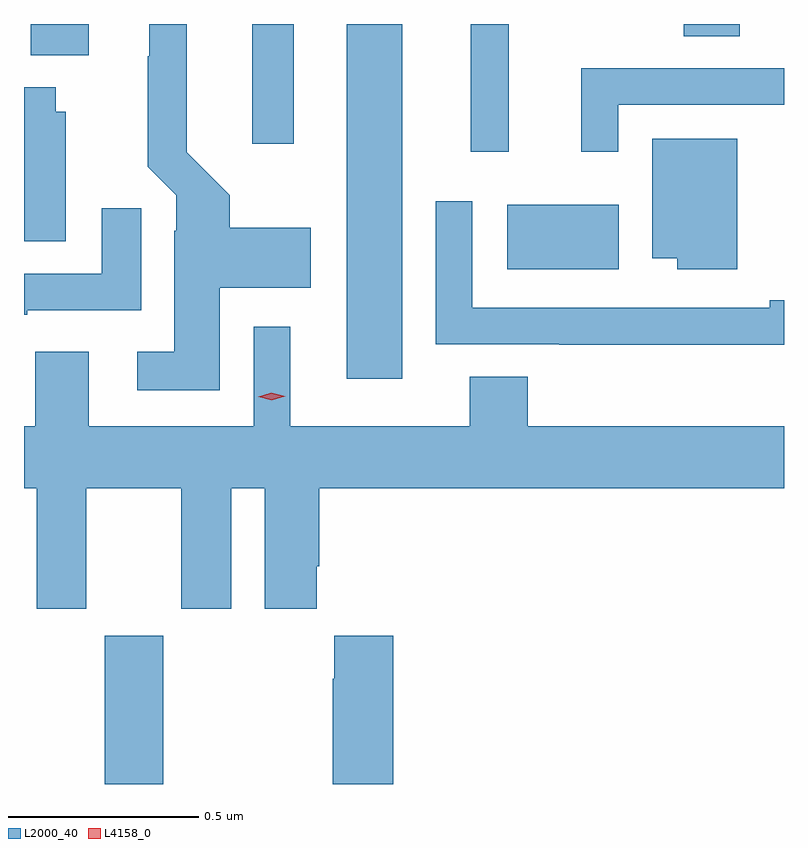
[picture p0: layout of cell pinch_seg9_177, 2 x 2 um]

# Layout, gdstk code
import gdstk
lib = gdstk.Library(unit=1e-6, precision=1e-09)
def R(c, l, rs):  # rectangles x0, y0, x1, y1
    for r in rs: c.add(gdstk.rectangle(r[:2], r[2:], *l))
def P(c, l, *ps):  # polygons
    for p in ps: c.add(gdstk.Polygon(p, *l))
L2000_40 = (2000, 40)
L4158_0 = (4158, 0)

pinch_seg9_177 = lib.new_cell('pinch_seg9_177')
R(pinch_seg9_177, L2000_40, [(683.761,1204.966,683.916,1205.356), (684.398,1206.033,684.544,1206.966), (684.821,1206.32,685.114,1206.49), (684.725,1206.63,684.824,1206.966), (684.149,1206.651,684.259,1206.966), (683.567,1206.884,683.719,1206.966), (685.285,1206.934,685.432,1206.966)])
P(pinch_seg9_177, L2000_40, [(684.064,1206.272),(684.304,1206.272),(684.304,1206.43),(684.09,1206.43),(684.09,1206.515),(683.977,1206.628),(683.977,1206.966),(683.879,1206.966),(683.879,1206.881),(683.875,1206.881),(683.875,1206.59),(683.949,1206.516),(683.949,1206.422),(683.945,1206.422),(683.945,1206.103),(683.847,1206.103),(683.847,1206.002),(684.064,1206.002)],
  [(685.113,1206.753),(685.549,1206.753),(685.549,1206.849),(685.016,1206.849),(685.016,1206.63),(685.113,1206.63)],
  [(683.659,1206.735),(683.632,1206.735),(683.632,1206.799),(683.549,1206.799),(683.549,1206.394),(683.659,1206.394)],
  [(685.426,1206.664),(685.202,1206.664),(685.202,1206.35),(685.268,1206.35),(685.268,1206.32),(685.426,1206.32)],
  [(685.549,1206.239),(685.511,1206.239),(685.511,1206.219),(684.729,1206.219),(684.729,1206.499),(684.633,1206.499),(684.633,1206.123),(684.958,1206.123),(684.958,1206.122),(685.549,1206.122)],
  [(683.557,1206.213),(683.857,1206.213),(683.857,1206.481),(683.753,1206.481),(683.753,1206.309),(683.549,1206.309),(683.549,1206.201),(683.557,1206.201)],
  [(683.713,1205.744),(683.963,1205.744),(683.963,1205.427),(684.094,1205.427),(684.094,1205.744),(684.182,1205.744),(684.182,1205.427),(684.319,1205.427),(684.319,1205.539),(684.326,1205.539),(684.326,1205.744),(685.549,1205.744),(685.549,1205.908),(684.875,1205.908),(684.875,1206.038),(684.722,1206.038),(684.722,1205.908),(684.25,1205.908),(684.25,1206.169),(684.153,1206.169),(684.153,1205.908),(683.719,1205.908),(683.719,1206.103),(683.579,1206.103),(683.579,1205.908),(683.549,1205.908),(683.549,1205.744),(683.582,1205.744),(683.582,1205.427),(683.713,1205.427)],
  [(684.521,1205.356),(684.365,1205.356),(684.365,1205.243),(684.361,1205.243),(684.361,1204.966),(684.521,1204.966)])
P(pinch_seg9_177, L4158_0, [(684.201,1205.976),(684.165,1205.985),(684.165,1205.985),(684.165,1205.985),(684.2,1205.996),(684.236,1205.987),(684.236,1205.986),(684.236,1205.986)])

lib.write_gds('pinch_seg9_177.gds')
